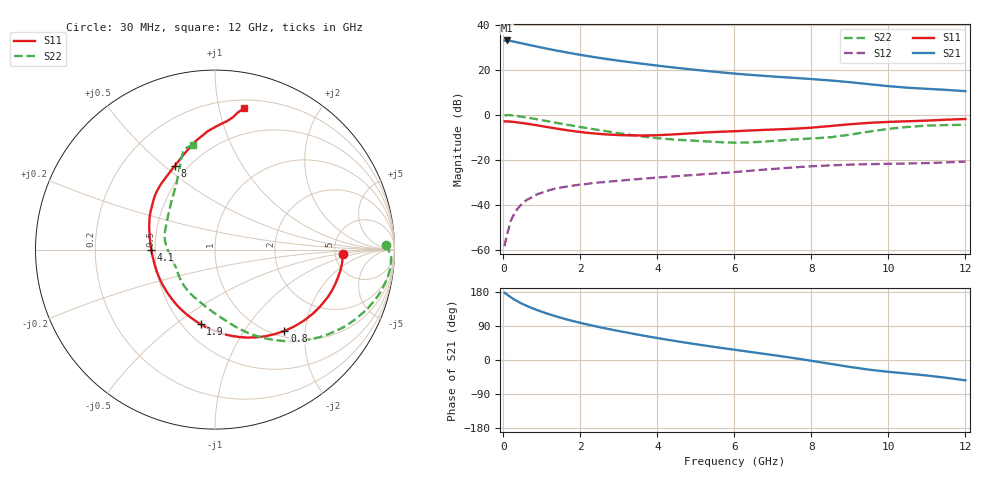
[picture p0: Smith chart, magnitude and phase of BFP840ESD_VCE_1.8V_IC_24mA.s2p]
! (c) 2012  Infineon Technologies AG, Munich
! Infineon Technologies  Discrete & RF Semiconductors
! BFP840ESD
! VCE =  1.8 V,  IC =  24 mA
! Common Emitter S-Parameters:  May 2012
# GHz  S  MA  R  50
!  f  S11  S21  S12  S22
! GHz  MAG  ANG  MAG  ANG  MAG  ANG  MAG  ANG
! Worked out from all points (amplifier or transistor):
!   93 points, 30 MHz to 12 GHz, reference 50 ohm
!   highest |S21| = 33.0 dB at 80 MHz (marker M1)
!   |S21| within 3 dB of that: start of sweep to 947.2 MHz
!   unconditionally stable (mu >= 1): 4.702 GHz to 7.931 GHz
!   at 1.1 GHz: K = 0.44, MSG = 31.8 dB, |S12| = -34.0 dB
!   at 4.2 GHz: K = 0.97, MSG = 24.6 dB, |S12| = -27.7 dB
!   at 12 GHz: K = 0.74, MSG = 15.6 dB, |S12| = -20.8 dB
!   S11 on the Smith chart (normalised r, x): 30 MHz: 5.86, -0.59; 800 MHz: 1.11, -1.56; 1.9 GHz: 0.61, -0.62; 4.1 GHz: 0.48, -0.00; 8 GHz: 0.43, +0.54; 12 GHz: 0.27, +1.19
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0.03  0.7109 -2.0  44.32 177.4  0.0012 111.7  0.9549 1.7
0.08  0.7124 -5.5  44.79 173.7  0.002 83.1  0.9824 -2.3
0.23  0.6968 -16.1  42.88 163.1  0.0052 80.2  0.9667 -11.1
0.38  0.6734 -25.7  40.3 154.0  0.0084 76.4  0.9301 -18.1
0.5  0.6529 -32.9  38.28 147.7  0.0108 72.1  0.8972 -23.1
0.6  0.6343 -38.6  36.66 143.0  0.0127 68.4  0.8696 -26.9
0.8  0.596 -49.5  33.67 134.7  0.0158 64.6  0.8128 -33.9
1  0.5581 -59.9  31.02 127.2  0.0185 60.0  0.7575 -40.2
1.3  0.5053 -74.5  27.56 117.2  0.0223 54.9  0.6793 -48.5
1.6  0.4605 -88.0  24.66 108.3  0.025 50.0  0.6107 -55.8
1.9  0.4236 -100.8  22.18 100.4  0.0273 47.3  0.5512 -62.3
2.1  0.4033 -108.9  20.75 95.5  0.0285 45.5  0.5166 -66.4
2.5  0.3751 -124.4  18.31 86.6  0.0313 42.7  0.4538 -73.9
2.9  0.357 -139.3  16.34 78.3  0.0336 40.8  0.4 -81.4
3.4  0.3469 -156.8  14.32 68.7  0.0366 39.1  0.3476 -92.0
4.1  0.3543 -179.8  12.08 56.2  0.0408 36.5  0.2966 -109.6
5.1  0.3968 157.2  9.742 40.1  0.0468 32.8  0.2604 -134.5
6.1  0.434 142.9  8.096 25.7  0.0541 29.8  0.2403 -158.0
8  0.5169 115.8  6.211 -2.2  0.0715 17.4  0.2961 160.3
8.5  0.5615 107.6  5.769 -10.2  0.075 13.2  0.3166 146.8
10.5  0.7168 84.9  3.99 -35.9  0.0824 -2.3  0.5363 110.6
12  0.805 78.3  3.34 -53.6  0.091 -9.9  0.5978 102.0
